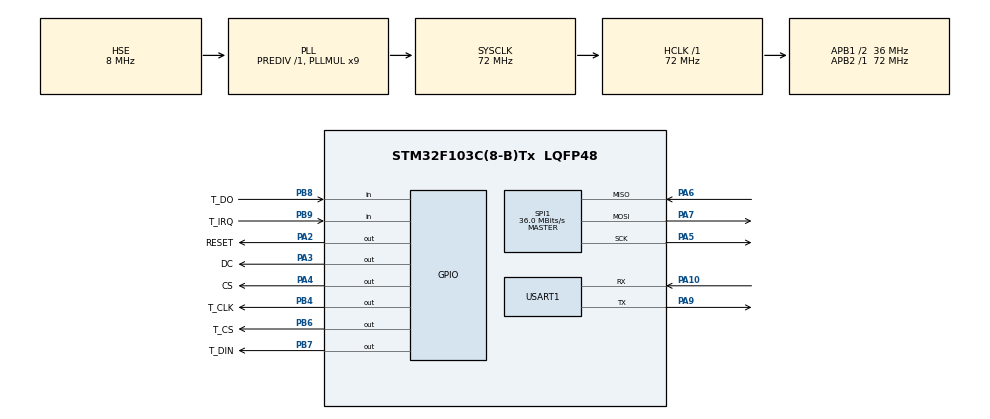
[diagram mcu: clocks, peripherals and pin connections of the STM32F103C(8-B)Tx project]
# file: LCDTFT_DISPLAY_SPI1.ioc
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FREERTOS.Tasks01=defaultTask,0,128,StartDefaultTask,Default,NULL,Dynamic,NULL,NULL;myTask02,-3,128,StartTask02,Default,NULL,Dynamic,NULL,NULL
Mcu.Family=STM32F1
Mcu.Name=STM32F103C(8-B)Tx
Mcu.Package=LQFP48
NVIC.PriorityGroup=NVIC_PRIORITYGROUP_4
NVIC.USART1_IRQn=true\:5\:0\:false\:false\:true\:true\:true\:true
PA10.Mode=Asynchronous
PA10.Signal=USART1_RX
PA13.Mode=Serial_Wire
PA13.Signal=SYS_JTMS-SWDIO
PA14.Mode=Serial_Wire
PA14.Signal=SYS_JTCK-SWCLK
PA2.GPIO_Label=RESET
PA2.Signal=GPIO_Output
PA3.GPIO_Label=DC
PA3.Signal=GPIO_Output
PA4.GPIO_Label=CS
PA4.Signal=GPIO_Output
PA5.Mode=Full_Duplex_Master
PA5.Signal=SPI1_SCK
PA6.Mode=Full_Duplex_Master
PA6.Signal=SPI1_MISO
PA7.Mode=Full_Duplex_Master
PA7.Signal=SPI1_MOSI
PA9.Mode=Asynchronous
PA9.Signal=USART1_TX
PB4.GPIO_Label=T_CLK
PB4.Signal=GPIO_Output
PB6.GPIO_Label=T_CS
PB6.Signal=GPIO_Output
PB7.GPIO_Label=T_DIN
PB7.Signal=GPIO_Output
PB8.GPIO_Label=T_DO
PB8.Signal=GPIO_Input
PB9.GPIO_Label=T_IRQ
PB9.Signal=GPIO_Input
PD0-OSC_IN.Mode=HSE-External-Oscillator
PD0-OSC_IN.Signal=RCC_OSC_IN
PD1-OSC_OUT.Mode=HSE-External-Oscillator
PD1-OSC_OUT.Signal=RCC_OSC_OUT
ProjectManager.HeapSize=0x200
ProjectManager.StackSize=0x400
ProjectManager.TargetToolchain=MDK-ARM V5
RCC.AHBFreq_Value=72000000
RCC.APB1CLKDivider=RCC_HCLK_DIV2
RCC.APB1Freq_Value=36000000
RCC.APB1TimFreq_Value=72000000
RCC.APB2Freq_Value=72000000
RCC.APB2TimFreq_Value=72000000
RCC.HCLKFreq_Value=72000000
RCC.PLLMUL=RCC_PLL_MUL9
RCC.PLLSourceVirtual=RCC_PLLSOURCE_HSE
RCC.SYSCLKFreq_VALUE=72000000
RCC.SYSCLKSource=RCC_SYSCLKSOURCE_PLLCLK
RCC.USBFreq_Value=72000000
SPI1.BaudRatePrescaler=SPI_BAUDRATEPRESCALER_2
SPI1.CalculateBaudRate=36.0 MBits/s
SPI1.Direction=SPI_DIRECTION_2LINES
SPI1.Mode=SPI_MODE_MASTER
SPI1.VirtualType=VM_MASTER
USART1.VirtualMode=VM_ASYNC
VP_FREERTOS_VS_CMSIS_V1.Mode=CMSIS_V1
board=custom

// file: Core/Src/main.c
/* USER CODE BEGIN Header */
/**
  ******************************************************************************
  * @file           : main.c
  * @brief          : Main program body
  ******************************************************************************
  * @attention
  *
  * <h2><center>&copy; Copyright (c) 2021 STMicroelectronics.
  * All rights reserved.</center></h2>
  *
  * This software component is licensed by ST under Ultimate Liberty license
  * SLA0044, the "License"; You may not use this file except in compliance with
  * the License. You may obtain a copy of the License at:
  *                             www.st.com/SLA0044
  *
  ******************************************************************************
  */
/* USER CODE END Header */
#include "main.h"
#include "cmsis_os.h"

/* USER CODE BEGIN Includes */
#include "ILI9341_Driver.h"
#include "Touch.h"
#include "display.h"

#include "park_icons.h"
#include "string.h"
/* USER CODE END Includes */

/* USER CODE BEGIN PTD */
int state = 0 ;
uint8_t 	rxBuffer[15138];
/* USER CODE END PTD */

SPI_HandleTypeDef hspi1;

UART_HandleTypeDef huart1;

osThreadId defaultTaskHandle;
osThreadId myTask02Handle;

void SystemClock_Config(void);
static void MX_GPIO_Init(void);
static void MX_SPI1_Init(void);
static void MX_USART1_UART_Init(void);
void StartDefaultTask(void const * argument);
void StartTask02(void const * argument);

/* USER CODE BEGIN PFP */
void HAL_UART_RxCpltCallback(UART_HandleTypeDef *huart)
{
	HAL_UART_Receive_IT(&huart1,(uint8_t*)rxBuffer, 15138);

	HAL_GPIO_WritePin(GPIOC,GPIO_PIN_13,GPIO_PIN_SET);
	state=state + 1;
}
/* USER CODE END PFP */

int main(void)
{

  /* MCU Configuration--------------------------------------------------------*/

  /* Reset of all peripherals, Initializes the Flash interface and the Systick. */
  HAL_Init();

  /* Configure the system clock */
  SystemClock_Config();

  /* Initialize all configured peripherals */
  MX_GPIO_Init();
  MX_SPI1_Init();
  MX_USART1_UART_Init();
  /* USER CODE BEGIN 2 */
	ILI9341_Init();
	TP_Init();
  ILI9341_Set_Rotation(1);
	ILI9341_Fill_Screen(BLACK);
  /* USER CODE END 2 */

  /* Create the thread(s) */
  /* definition and creation of defaultTask */
  osThreadDef(defaultTask, StartDefaultTask, osPriorityNormal, 0, 128);
  defaultTaskHandle = osThreadCreate(osThread(defaultTask), NULL);

  /* definition and creation of myTask02 */
  osThreadDef(myTask02, StartTask02, osPriorityIdle, 0, 128);
  myTask02Handle = osThreadCreate(osThread(myTask02), NULL);

  /* Start scheduler */
  osKernelStart();

  /* We should never get here as control is now taken by the scheduler */
  /* Infinite loop */
  while (1)
  {

  }
}

void SystemClock_Config(void)
{
  RCC_OscInitTypeDef RCC_OscInitStruct = {0};
  RCC_ClkInitTypeDef RCC_ClkInitStruct = {0};

  /** Initializes the RCC Oscillators according to the specified parameters
  * in the RCC_OscInitTypeDef structure.
  */
  RCC_OscInitStruct.OscillatorType = RCC_OSCILLATORTYPE_HSE;
  RCC_OscInitStruct.HSEState = RCC_HSE_ON;
  RCC_OscInitStruct.HSEPredivValue = RCC_HSE_PREDIV_DIV1;
  RCC_OscInitStruct.HSIState = RCC_HSI_ON;
  RCC_OscInitStruct.PLL.PLLState = RCC_PLL_ON;
  RCC_OscInitStruct.PLL.PLLSource = RCC_PLLSOURCE_HSE;
  RCC_OscInitStruct.PLL.PLLMUL = RCC_PLL_MUL9;
  if (HAL_RCC_OscConfig(&RCC_OscInitStruct) != HAL_OK)
  {
    Error_Handler();
  }
  /** Initializes the CPU, AHB and APB buses clocks
  */
  RCC_ClkInitStruct.ClockType = RCC_CLOCKTYPE_HCLK|RCC_CLOCKTYPE_SYSCLK
                              |RCC_CLOCKTYPE_PCLK1|RCC_CLOCKTYPE_PCLK2;
  RCC_ClkInitStruct.SYSCLKSource = RCC_SYSCLKSOURCE_PLLCLK;
  RCC_ClkInitStruct.AHBCLKDivider = RCC_SYSCLK_DIV1;
  RCC_ClkInitStruct.APB1CLKDivider = RCC_HCLK_DIV2;
  RCC_ClkInitStruct.APB2CLKDivider = RCC_HCLK_DIV1;

  if (HAL_RCC_ClockConfig(&RCC_ClkInitStruct, FLASH_LATENCY_2) != HAL_OK)
  {
    Error_Handler();
  }
}

static void MX_SPI1_Init(void)
{

  /* SPI1 parameter configuration*/
  hspi1.Instance = SPI1;
  hspi1.Init.Mode = SPI_MODE_MASTER;
  hspi1.Init.Direction = SPI_DIRECTION_2LINES;
  hspi1.Init.DataSize = SPI_DATASIZE_8BIT;
  hspi1.Init.CLKPolarity = SPI_POLARITY_LOW;
  hspi1.Init.CLKPhase = SPI_PHASE_1EDGE;
  hspi1.Init.NSS = SPI_NSS_SOFT;
  hspi1.Init.BaudRatePrescaler = SPI_BAUDRATEPRESCALER_2;
  hspi1.Init.FirstBit = SPI_FIRSTBIT_MSB;
  hspi1.Init.TIMode = SPI_TIMODE_DISABLE;
  hspi1.Init.CRCCalculation = SPI_CRCCALCULATION_DISABLE;
  hspi1.Init.CRCPolynomial = 10;
  if (HAL_SPI_Init(&hspi1) != HAL_OK)
  {
    Error_Handler();
  }

}

static void MX_USART1_UART_Init(void)
{

  huart1.Instance = USART1;
  huart1.Init.BaudRate = 115200;
  huart1.Init.WordLength = UART_WORDLENGTH_8B;
  huart1.Init.StopBits = UART_STOPBITS_1;
  huart1.Init.Parity = UART_PARITY_NONE;
  huart1.Init.Mode = UART_MODE_TX_RX;
  huart1.Init.HwFlowCtl = UART_HWCONTROL_NONE;
  huart1.Init.OverSampling = UART_OVERSAMPLING_16;
  if (HAL_UART_Init(&huart1) != HAL_OK)
  {
    Error_Handler();
  }

}

static void MX_GPIO_Init(void)
{
  GPIO_InitTypeDef GPIO_InitStruct = {0};

  /* GPIO Ports Clock Enable */
  __HAL_RCC_GPIOD_CLK_ENABLE();
  __HAL_RCC_GPIOA_CLK_ENABLE();
  __HAL_RCC_GPIOB_CLK_ENABLE();

  /*Configure GPIO pin Output Level */
  HAL_GPIO_WritePin(GPIOA, RESET_Pin|DC_Pin|CS_Pin, GPIO_PIN_RESET);

  /*Configure GPIO pin Output Level */
  HAL_GPIO_WritePin(GPIOB, T_CLK_Pin|T_CS_Pin|T_DIN_Pin, GPIO_PIN_RESET);

  /*Configure GPIO pins : RESET_Pin DC_Pin CS_Pin */
  GPIO_InitStruct.Pin = RESET_Pin|DC_Pin|CS_Pin;
  GPIO_InitStruct.Mode = GPIO_MODE_OUTPUT_PP;
  GPIO_InitStruct.Pull = GPIO_NOPULL;
  GPIO_InitStruct.Speed = GPIO_SPEED_FREQ_LOW;
  HAL_GPIO_Init(GPIOA, &GPIO_InitStruct);

  /*Configure GPIO pins : T_CLK_Pin T_CS_Pin T_DIN_Pin */
  GPIO_InitStruct.Pin = T_CLK_Pin|T_CS_Pin|T_DIN_Pin;
  GPIO_InitStruct.Mode = GPIO_MODE_OUTPUT_PP;
  GPIO_InitStruct.Pull = GPIO_NOPULL;
  GPIO_InitStruct.Speed = GPIO_SPEED_FREQ_LOW;
  HAL_GPIO_Init(GPIOB, &GPIO_InitStruct);

  /*Configure GPIO pins : T_DO_Pin T_IRQ_Pin */
  GPIO_InitStruct.Pin = T_DO_Pin|T_IRQ_Pin;
  GPIO_InitStruct.Mode = GPIO_MODE_INPUT;
  GPIO_InitStruct.Pull = GPIO_NOPULL;
  HAL_GPIO_Init(GPIOB, &GPIO_InitStruct);

}

void StartDefaultTask(void const * argument)
{
	HAL_UART_Receive_IT(&huart1,(uint8_t*)rxBuffer, 15138);
  /* USER CODE BEGIN 5 */
	ILI9341_Set_Rotation(3);
	Display_Color_Picture();
	//Display_Color_Picture1();
	//ILI9341_Draw_String(20, 170, WHITE, BLACK, "For more information, please visit:", 2);
	//ILI9341_Draw_String(20, 190, WHITE, BLACK, "    http://cce.hcmute.edu.vn    ", 2);
	ILI9341_Draw_String(170, 10, WHITE, BLACK, "Anh truyen UART", 2);

//	ILI9341_Draw_String(170, 30, WHITE, BLACK, "DoB: 5/2/1985    ", 2);
//	ILI9341_Draw_String(170, 50, WHITE, BLACK, "PoB: Portugal    ", 2);
//	ILI9341_Draw_String(170, 70, WHITE, BLACK, "Height: 1.87 m   ", 2);
//	ILI9341_Draw_String(170, 90, WHITE, BLACK, "Team: Juventus   ", 2);
//	ILI9341_Draw_String(170, 110, WHITE, BLACK, "Number: 7        ", 2);
  /* Infinite loop */
  for(;;)
  {
		if(state == 1)
		{
			for (uint16_t i = 0; i < 87; i++)
			{
				for (uint16_t j = 0; j < 87; j++)
				{
					ILI9341_Draw_Double_Pixel(j+160, i+ 30, rxBuffer[(174 * i) + j * 2],rxBuffer[(174 * i) + j * 2 + 1]);
				}
			}

			state = 0;
		}
    osDelay(1);
  }
  /* USER CODE END 5 */
}

void StartTask02(void const * argument)
{
  for(;;)
  {
    osDelay(1);
  }
}

void Error_Handler(void)
{
  __disable_irq();
  while (1)
  {
  }
}

/************************ (C) COPYRIGHT STMicroelectronics *****END OF FILE****/
